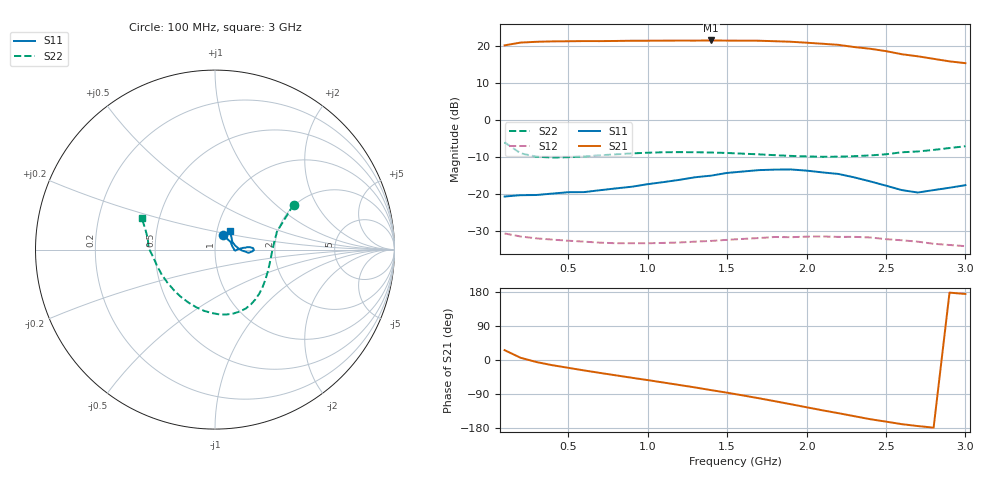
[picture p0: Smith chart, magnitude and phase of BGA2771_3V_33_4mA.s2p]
! Bias: Vs=3.00 V; Is=33.4 mA
#  MHz  S  MA  R 50
! Freq  S11  S21  S12  S22
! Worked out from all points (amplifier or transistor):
!   30 points, 100 MHz to 3 GHz, reference 50 ohm
!   highest |S21| = 21.6 dB at 1.4 GHz (marker M1)
!   |S21| within 3 dB of that: start of sweep to 2.514 GHz
!   unconditionally stable (mu >= 1): start of sweep to end of sweep
!   at 600 MHz: K = 1.74, MAG = 22.1 dB, |S12| = -32.8 dB
!   at 1.6 GHz: K = 1.49, MAG = 22.7 dB, |S12| = -32.1 dB
!   at 3 GHz: K = 3.34, MAG = 16.6 dB, |S12| = -34.0 dB
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100  0.09328 62.1  10.34 26.0  0.02953 13.7  0.504 29.8
200  0.09723 25.3  11.27 5.9  0.02688 6.6  0.359 16.1
300  0.09778 11.1  11.54 -5.3  0.02534 3.0  0.3222 1.6
400  0.1022 5.2  11.69 -13.7  0.02438 0.9  0.3142 -10.3
600  0.1071 -1.3  11.81 -27.5  0.02288 1.3  0.3254 -29.6
900  0.1265 0.7  11.93 -46.8  0.02179 5.8  0.3572 -50.9
1100  0.1462 2.7  11.97 -59.5  0.02199 10.3  0.3704 -62.6
1200  0.1568 3.6  11.99 -66.0  0.02229 11.8  0.3717 -68.2
1400  0.1787 4.3  12.04 -79.5  0.02341 13.9  0.3672 -79.8
1600  0.2032 3.2  11.95 -93.5  0.02492 15.6  0.3543 -92.6
1700  0.2123 2.2  11.93 -100.9  0.02559 14.5  0.3469 -99.8
1800  0.2156 0.0  11.76 -108.7  0.02645 13.8  0.338 -107.7
1900  0.2168 -0.8  11.56 -116.6  0.02627 13.3  0.3306 -116.1
2000  0.209 -2.6  11.22 -124.7  0.02676 11.1  0.3252 -125.3
2100  0.1977 -4.0  10.86 -132.7  0.0269 10.8  0.3219 -134.9
2200  0.1885 -5.5  10.5 -140.3  0.02653 9.4  0.3226 -145.1
2400  0.1497 -1.9  9.299 -156.2  0.02606 6.7  0.3353 -164.4
2500  0.1308 3.0  8.635 -162.6  0.02472 5.8  0.3476 -173.5
2600  0.1139 11.8  7.839 -169.3  0.02388 3.6  0.3702 178.6
2700  0.1057 23.9  7.349 -174.3  0.02288 6.8  0.3793 170.7
2800  0.1139 36.4  6.793 -178.5  0.02139 6.0  0.3983 165.2
3000  0.1329 50.3  5.935 174.2  0.01987 12.5  0.4461 156.5
